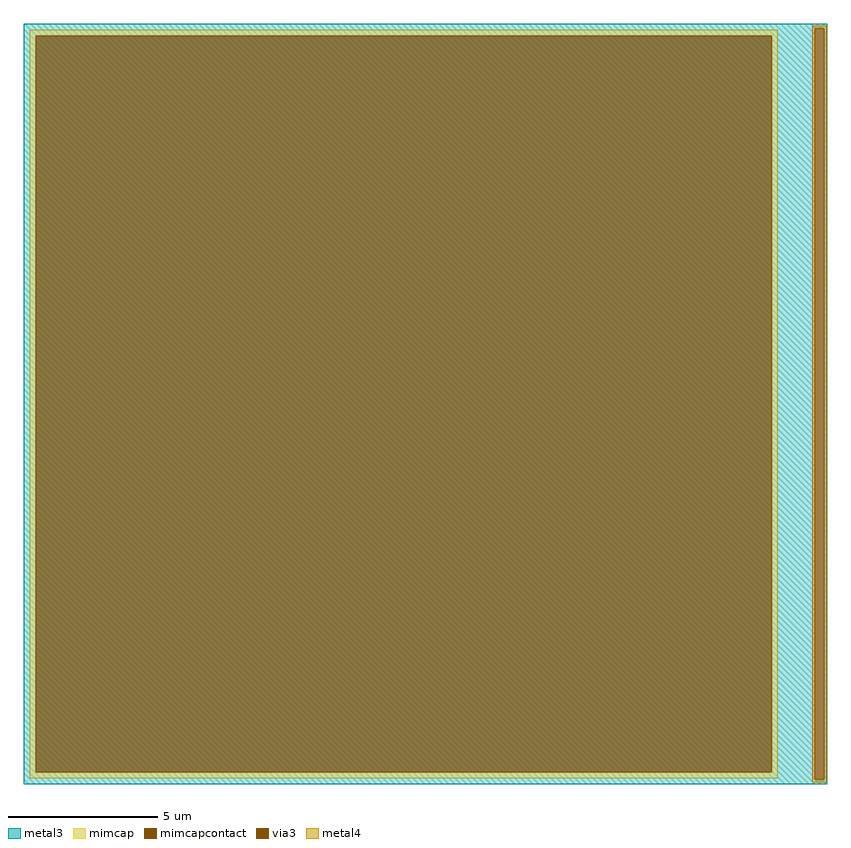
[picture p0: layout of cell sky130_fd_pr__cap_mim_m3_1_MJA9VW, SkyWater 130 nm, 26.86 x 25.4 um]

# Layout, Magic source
magic
tech sky130A
<< metal3 >>
rect -1343 1256 1343 1270
rect -1343 -1256 1301 1256
rect 1333 -1256 1343 1256
rect -1343 -1270 1343 -1256
<< via3 >>
rect 1301 -1256 1333 1256
<< mimcap >>
rect -1323 1230 1177 1250
rect -1323 -1230 -1303 1230
rect 1157 -1230 1177 1230
rect -1323 -1250 1177 -1230
<< mimcapcontact >>
rect -1303 -1230 1157 1230
<< metal4 >>
rect 1293 1256 1341 1264
rect 1293 -1256 1301 1256
rect 1333 -1256 1341 1256
rect 1293 -1264 1341 -1256
<< properties >>
string FIXED_BBOX -1343 -1270 1197 1270
string gencell sky130_fd_pr__cap_mim_m3_1
string library sky130
string parameters w 25 l 25 val 1.269k carea 2.00 cperi 0.19 nx 1 ny 1 dummy 0 square 0 lmin 2.00 wmin 2.00 lmax 30.0 wmax 30.0 dc 0 bconnect 1 tconnect 1 ccov 100
<< end >>
